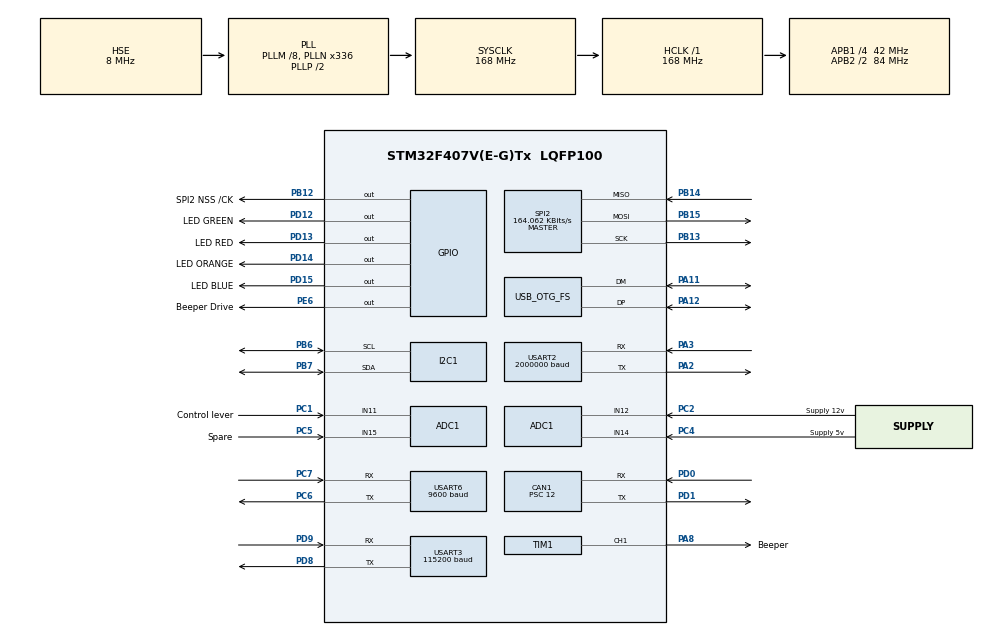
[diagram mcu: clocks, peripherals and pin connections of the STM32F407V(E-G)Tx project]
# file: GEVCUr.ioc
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ADC1.Channel-0\#ChannelRegularConversion=ADC_CHANNEL_11
ADC1.Channel-1\#ChannelRegularConversion=ADC_CHANNEL_12
ADC1.Channel-10\#ChannelRegularConversion=ADC_CHANNEL_TEMPSENSOR
ADC1.Channel-11\#ChannelRegularConversion=ADC_CHANNEL_VREFINT
ADC1.Channel-2\#ChannelRegularConversion=ADC_CHANNEL_14
ADC1.Channel-3\#ChannelRegularConversion=ADC_CHANNEL_15
ADC1.ContinuousConvMode=ENABLE
ADC1.DMAContinuousRequests=ENABLE
ADC1.NbrOfConversion=6
ADC1.NbrOfConversionFlag=1
ADC1.Rank-0\#ChannelRegularConversion=1
ADC1.Rank-1\#ChannelRegularConversion=2
ADC1.Rank-10\#ChannelRegularConversion=5
ADC1.Rank-11\#ChannelRegularConversion=6
ADC1.Rank-2\#ChannelRegularConversion=3
ADC1.Rank-3\#ChannelRegularConversion=4
ADC1.SamplingTime-0\#ChannelRegularConversion=ADC_SAMPLETIME_84CYCLES
ADC1.SamplingTime-1\#ChannelRegularConversion=ADC_SAMPLETIME_84CYCLES
ADC1.SamplingTime-10\#ChannelRegularConversion=ADC_SAMPLETIME_480CYCLES
ADC1.SamplingTime-11\#ChannelRegularConversion=ADC_SAMPLETIME_480CYCLES
ADC1.SamplingTime-2\#ChannelRegularConversion=ADC_SAMPLETIME_84CYCLES
ADC1.SamplingTime-3\#ChannelRegularConversion=ADC_SAMPLETIME_84CYCLES
ADC1.ScanConvMode=ENABLE
ADC1.master=1
CAN1.BS1=CAN_BS1_5TQ
CAN1.CalculateBaudRate=500000
CAN1.CalculateTimeBit=2000
CAN1.CalculateTimeQuantum=285.7142857142857
CAN1.Prescaler=12
Dma.ADC1.4.Direction=DMA_PERIPH_TO_MEMORY
Dma.ADC1.4.FIFOMode=DMA_FIFOMODE_DISABLE
Dma.ADC1.4.Instance=DMA2_Stream0
Dma.ADC1.4.MemDataAlignment=DMA_MDATAALIGN_HALFWORD
Dma.ADC1.4.MemInc=DMA_MINC_ENABLE
Dma.ADC1.4.Mode=DMA_CIRCULAR
Dma.ADC1.4.PeriphDataAlignment=DMA_PDATAALIGN_HALFWORD
Dma.ADC1.4.PeriphInc=DMA_PINC_DISABLE
Dma.ADC1.4.Priority=DMA_PRIORITY_LOW
Dma.I2C1_RX.8.Direction=DMA_PERIPH_TO_MEMORY
Dma.I2C1_RX.8.FIFOMode=DMA_FIFOMODE_DISABLE
Dma.I2C1_RX.8.Instance=DMA1_Stream0
Dma.I2C1_RX.8.MemDataAlignment=DMA_MDATAALIGN_BYTE
Dma.I2C1_RX.8.MemInc=DMA_MINC_ENABLE
Dma.I2C1_RX.8.Mode=DMA_NORMAL
Dma.I2C1_RX.8.PeriphDataAlignment=DMA_PDATAALIGN_BYTE
Dma.I2C1_RX.8.PeriphInc=DMA_PINC_DISABLE
Dma.I2C1_RX.8.Priority=DMA_PRIORITY_LOW
Dma.I2C1_TX.7.Direction=DMA_MEMORY_TO_PERIPH
Dma.I2C1_TX.7.FIFOMode=DMA_FIFOMODE_DISABLE
Dma.I2C1_TX.7.Instance=DMA1_Stream7
Dma.I2C1_TX.7.MemDataAlignment=DMA_MDATAALIGN_BYTE
Dma.I2C1_TX.7.MemInc=DMA_MINC_ENABLE
Dma.I2C1_TX.7.Mode=DMA_NORMAL
Dma.I2C1_TX.7.PeriphDataAlignment=DMA_PDATAALIGN_BYTE
Dma.I2C1_TX.7.PeriphInc=DMA_PINC_DISABLE
Dma.I2C1_TX.7.Priority=DMA_PRIORITY_LOW
Dma.Request0=USART2_RX
Dma.Request1=USART2_TX
Dma.Request2=USART6_RX
Dma.Request3=USART6_TX
Dma.Request4=ADC1
Dma.Request5=USART3_RX
Dma.Request6=USART3_TX
Dma.Request7=I2C1_TX
Dma.Request8=I2C1_RX
Dma.USART2_RX.0.Direction=DMA_PERIPH_TO_MEMORY
Dma.USART2_RX.0.FIFOMode=DMA_FIFOMODE_DISABLE
Dma.USART2_RX.0.Instance=DMA1_Stream5
Dma.USART2_RX.0.MemDataAlignment=DMA_MDATAALIGN_BYTE
Dma.USART2_RX.0.MemInc=DMA_MINC_ENABLE
Dma.USART2_RX.0.Mode=DMA_CIRCULAR
Dma.USART2_RX.0.PeriphDataAlignment=DMA_PDATAALIGN_BYTE
Dma.USART2_RX.0.PeriphInc=DMA_PINC_DISABLE
Dma.USART2_RX.0.Priority=DMA_PRIORITY_LOW
Dma.USART2_TX.1.Direction=DMA_MEMORY_TO_PERIPH
Dma.USART2_TX.1.FIFOMode=DMA_FIFOMODE_DISABLE
Dma.USART2_TX.1.Instance=DMA1_Stream6
Dma.USART2_TX.1.MemDataAlignment=DMA_MDATAALIGN_BYTE
Dma.USART2_TX.1.MemInc=DMA_MINC_ENABLE
Dma.USART2_TX.1.Mode=DMA_NORMAL
Dma.USART2_TX.1.PeriphDataAlignment=DMA_PDATAALIGN_BYTE
Dma.USART2_TX.1.PeriphInc=DMA_PINC_DISABLE
Dma.USART2_TX.1.Priority=DMA_PRIORITY_LOW
Dma.USART3_RX.5.Direction=DMA_PERIPH_TO_MEMORY
Dma.USART3_RX.5.FIFOMode=DMA_FIFOMODE_DISABLE
Dma.USART3_RX.5.Instance=DMA1_Stream1
Dma.USART3_RX.5.MemDataAlignment=DMA_MDATAALIGN_BYTE
Dma.USART3_RX.5.MemInc=DMA_MINC_ENABLE
Dma.USART3_RX.5.Mode=DMA_NORMAL
Dma.USART3_RX.5.PeriphDataAlignment=DMA_PDATAALIGN_BYTE
Dma.USART3_RX.5.PeriphInc=DMA_PINC_DISABLE
Dma.USART3_RX.5.Priority=DMA_PRIORITY_LOW
Dma.USART3_TX.6.Direction=DMA_MEMORY_TO_PERIPH
Dma.USART3_TX.6.FIFOMode=DMA_FIFOMODE_DISABLE
Dma.USART3_TX.6.Instance=DMA1_Stream3
Dma.USART3_TX.6.MemDataAlignment=DMA_MDATAALIGN_BYTE
Dma.USART3_TX.6.MemInc=DMA_MINC_ENABLE
Dma.USART3_TX.6.Mode=DMA_NORMAL
Dma.USART3_TX.6.PeriphDataAlignment=DMA_PDATAALIGN_BYTE
Dma.USART3_TX.6.PeriphInc=DMA_PINC_DISABLE
Dma.USART3_TX.6.Priority=DMA_PRIORITY_LOW
Dma.USART6_RX.2.Direction=DMA_PERIPH_TO_MEMORY
Dma.USART6_RX.2.FIFOMode=DMA_FIFOMODE_DISABLE
Dma.USART6_RX.2.Instance=DMA2_Stream1
Dma.USART6_RX.2.MemDataAlignment=DMA_MDATAALIGN_BYTE
Dma.USART6_RX.2.MemInc=DMA_MINC_ENABLE
Dma.USART6_RX.2.Mode=DMA_CIRCULAR
Dma.USART6_RX.2.PeriphDataAlignment=DMA_PDATAALIGN_BYTE
Dma.USART6_RX.2.PeriphInc=DMA_PINC_DISABLE
Dma.USART6_RX.2.Priority=DMA_PRIORITY_LOW
Dma.USART6_TX.3.Direction=DMA_MEMORY_TO_PERIPH
Dma.USART6_TX.3.FIFOMode=DMA_FIFOMODE_DISABLE
Dma.USART6_TX.3.Instance=DMA2_Stream6
Dma.USART6_TX.3.MemDataAlignment=DMA_MDATAALIGN_BYTE
Dma.USART6_TX.3.MemInc=DMA_MINC_ENABLE
Dma.USART6_TX.3.Mode=DMA_NORMAL
Dma.USART6_TX.3.PeriphDataAlignment=DMA_PDATAALIGN_BYTE
Dma.USART6_TX.3.PeriphInc=DMA_PINC_DISABLE
Dma.USART6_TX.3.Priority=DMA_PRIORITY_LOW
FREERTOS.INCLUDE_uxTaskGetStackHighWaterMark=1
FREERTOS.INCLUDE_vTaskDelayUntil=1
FREERTOS.INCLUDE_vTaskDelete=0
FREERTOS.INCLUDE_xTaskGetCurrentTaskHandle=1
FREERTOS.MEMORY_ALLOCATION=2
FREERTOS.Tasks01=defaultTask,0,448,StartDefaultTask,Default,NULL,Dynamic,NULL,NULL
FREERTOS.Timers01=defaultTaskTimer,CallbackdefaultTaskTimer,osTimerPeriodic,Default,NULL,Dynamic,NULL
FREERTOS.configCHECK_FOR_STACK_OVERFLOW=2
FREERTOS.configMINIMAL_STACK_SIZE=64
FREERTOS.configQUEUE_REGISTRY_SIZE=12
FREERTOS.configTICK_RATE_HZ=512
FREERTOS.configTOTAL_HEAP_SIZE=32768
FREERTOS.configUSE_TIMERS=1
Mcu.Family=STM32F4
Mcu.Name=STM32F407V(E-G)Tx
Mcu.Package=LQFP100
NVIC.ADC_IRQn=true\:6\:0\:true\:false\:true\:true\:true\:true\:true
NVIC.CAN1_RX0_IRQn=true\:7\:0\:true\:false\:true\:true\:true\:true\:true
NVIC.CAN1_RX1_IRQn=true\:7\:0\:true\:false\:true\:true\:true\:true\:true
NVIC.CAN1_TX_IRQn=true\:5\:0\:false\:false\:true\:true\:true\:true\:true
NVIC.DMA1_Stream0_IRQn=true\:8\:0\:true\:false\:true\:true\:false\:true\:true
NVIC.DMA1_Stream1_IRQn=true\:10\:0\:true\:false\:true\:true\:false\:true\:true
NVIC.DMA1_Stream3_IRQn=true\:10\:0\:true\:false\:true\:true\:false\:true\:true
NVIC.DMA1_Stream5_IRQn=true\:6\:0\:true\:false\:true\:true\:false\:true\:true
NVIC.DMA1_Stream6_IRQn=true\:6\:0\:true\:false\:true\:true\:false\:true\:true
NVIC.DMA1_Stream7_IRQn=true\:12\:0\:true\:false\:true\:true\:false\:true\:true
NVIC.DMA2_Stream0_IRQn=true\:6\:0\:true\:false\:true\:true\:false\:true\:true
NVIC.DMA2_Stream1_IRQn=true\:11\:0\:true\:false\:true\:true\:false\:true\:true
NVIC.DMA2_Stream6_IRQn=true\:11\:0\:true\:false\:true\:true\:false\:true\:true
NVIC.I2C1_EV_IRQn=true\:5\:0\:false\:false\:true\:true\:true\:true\:true
NVIC.OTG_FS_IRQn=true\:5\:0\:false\:false\:true\:true\:false\:true\:true
NVIC.PriorityGroup=NVIC_PRIORITYGROUP_4
NVIC.SPI2_IRQn=true\:13\:0\:true\:false\:true\:true\:true\:true\:true
NVIC.TIM5_IRQn=true\:0\:0\:false\:false\:true\:false\:false\:true\:true
NVIC.TimeBase=TIM5_IRQn
NVIC.TimeBaseIP=TIM5
NVIC.USART2_IRQn=true\:6\:0\:true\:false\:true\:true\:true\:true\:true
NVIC.USART3_IRQn=true\:8\:0\:true\:false\:true\:true\:true\:true\:true
NVIC.USART6_IRQn=true\:9\:0\:true\:false\:true\:true\:true\:true\:true
PA11.Mode=Device_Only
PA11.Signal=USB_OTG_FS_DM
PA12.Mode=Device_Only
PA12.Signal=USB_OTG_FS_DP
PA2.Mode=Asynchronous
PA2.Signal=USART2_TX
PA3.Mode=Asynchronous
PA3.Signal=USART2_RX
PA8.GPIO_Label=Beeper
PA8.Signal=S_TIM1_CH1
PB12.GPIO_Label=SPI2 NSS /CK
PB12.GPIO_PuPd=GPIO_PULLUP
PB12.GPIO_Speed=GPIO_SPEED_FREQ_MEDIUM
PB12.Signal=GPIO_Output
PB13.Mode=Full_Duplex_Master
PB13.Signal=SPI2_SCK
PB14.Mode=Full_Duplex_Master
PB14.Signal=SPI2_MISO
PB15.Mode=Full_Duplex_Master
PB15.Signal=SPI2_MOSI
PB6.GPIO_Pu=GPIO_PULLUP
PB6.Mode=I2C
PB6.Signal=I2C1_SCL
PB7.GPIO_Pu=GPIO_PULLUP
PB7.Mode=I2C
PB7.Signal=I2C1_SDA
PC1.GPIO_Label=Control lever
PC1.Signal=ADCx_IN11
PC2.GPIO_Label=Supply 12v
PC2.Signal=ADCx_IN12
PC4.GPIO_Label=Supply 5v
PC4.Signal=ADCx_IN14
PC5.GPIO_Label=Spare
PC5.Signal=ADCx_IN15
PC6.Mode=Asynchronous
PC6.Signal=USART6_TX
PC7.Mode=Asynchronous
PC7.Signal=USART6_RX
PD0.Mode=CAN_Activate
PD0.Signal=CAN1_RX
PD1.Mode=CAN_Activate
PD1.Signal=CAN1_TX
PD12.GPIO_Label=LED GREEN
PD12.Signal=GPIO_Output
PD13.GPIO_Label=LED RED
PD13.Signal=GPIO_Output
PD14.GPIO_Label=LED ORANGE
PD14.Signal=GPIO_Output
PD15.GPIO_Label=LED BLUE
PD15.Signal=GPIO_Output
PD8.Mode=Asynchronous
PD8.Signal=USART3_TX
PD9.Mode=Asynchronous
PD9.Signal=USART3_RX
PE6.GPIO_Label=Beeper Drive
PE6.GPIO_ModeDefaultOutputPP=GPIO_MODE_OUTPUT_PP
PE6.GPIO_PuPd=GPIO_NOPULL
PE6.GPIO_Speed=GPIO_SPEED_FREQ_LOW
PE6.PinState=GPIO_PIN_RESET
PE6.Signal=GPIO_Output
PH0-OSC_IN.Mode=HSE-External-Oscillator
PH0-OSC_IN.Signal=RCC_OSC_IN
PH1-OSC_OUT.Mode=HSE-External-Oscillator
PH1-OSC_OUT.Signal=RCC_OSC_OUT
ProjectManager.HeapSize=0x200
ProjectManager.StackSize=0x400
ProjectManager.TargetToolchain=Makefile
RCC.48MHZClocksFreq_Value=48000000
RCC.AHBFreq_Value=168000000
RCC.APB1CLKDivider=RCC_HCLK_DIV4
RCC.APB1Freq_Value=42000000
RCC.APB1TimFreq_Value=84000000
RCC.APB2CLKDivider=RCC_HCLK_DIV2
RCC.APB2Freq_Value=84000000
RCC.APB2TimFreq_Value=168000000
RCC.CortexFreq_Value=168000000
RCC.HCLKFreq_Value=168000000
RCC.HSE_VALUE=8000000
RCC.HSI_VALUE=16000000
RCC.LSE_VALUE=32768
RCC.PLLM=8
RCC.PLLN=336
RCC.PLLQ=7
RCC.SYSCLKFreq_VALUE=168000000
RCC.SYSCLKSource=RCC_SYSCLKSOURCE_PLLCLK
RCC.VCOOutputFreq_Value=336000000
SH.ADCx_IN11.0=ADC1_IN11,IN11
SH.ADCx_IN12.0=ADC1_IN12,IN12
SH.ADCx_IN14.0=ADC1_IN14,IN14
SH.ADCx_IN15.0=ADC1_IN15,IN15
SH.S_TIM1_CH1.0=TIM1_CH1,PWM Generation1 CH1
SPI2.BaudRatePrescaler=SPI_BAUDRATEPRESCALER_256
SPI2.CLKPhase=SPI_PHASE_1EDGE
SPI2.CLKPolarity=SPI_POLARITY_LOW
SPI2.CalculateBaudRate=164.062 KBits/s
SPI2.Direction=SPI_DIRECTION_2LINES
SPI2.Mode=SPI_MODE_MASTER
SPI2.VirtualType=VM_MASTER
TIM1.AutoReloadPreload=TIM_AUTORELOAD_PRELOAD_DISABLE
TIM1.Channel-PWM\ Generation1\ CH1=TIM_CHANNEL_1
TIM1.Period=35000
TIM1.Pulse-PWM\ Generation1\ CH1=3500
TIM1.TIM_MasterOutputTrigger=TIM_TRGO_OC1REF
USART2.BaudRate=2000000
USART2.VirtualMode=VM_ASYNC
USART3.BaudRate=115200
USART3.VirtualMode=VM_ASYNC
USART6.BaudRate=9600
USART6.VirtualMode=VM_ASYNC
USB_DEVICE.CLASS_NAME_FS=CDC
USB_DEVICE.VirtualMode-CDC_FS=Cdc
USB_DEVICE.VirtualModeFS=Cdc_FS
USB_OTG_FS.VirtualMode=Device_Only
VP_ADC1_TempSens_Input.Mode=IN-TempSens
VP_ADC1_Vref_Input.Mode=IN-Vrefint
VP_FREERTOS_VS_CMSIS_V1.Mode=CMSIS_V1
VP_SYS_VS_tim5.Mode=TIM5
VP_TIM1_VS_ClockSourceINT.Mode=Internal
VP_USB_DEVICE_VS_USB_DEVICE_CDC_FS.Mode=CDC_FS
board=custom

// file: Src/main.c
/* USER CODE BEGIN Header */
/**
  ******************************************************************************
  * @file           : main.c
  * @brief          : Main program body
  ******************************************************************************
  * This notice applies to any and all portions of this file
  * that are not between comment pairs USER CODE BEGIN and
  * USER CODE END. Other portions of this file, whether
  * inserted by the user or by software development tools
  * are owned by their respective copyright owners.
  *
  * Copyright (c) 2019 STMicroelectronics International N.V.
  * All rights reserved.
  *
  * Redistribution and use in source and binary forms, with or without
  * modification, are permitted, provided that the following conditions are met:
  *
  * 1. Redistribution of source code must retain the above copyright notice,
  *    this list of conditions and the following disclaimer.
  * 2. Redistributions in binary form must reproduce the above copyright notice,
  *    this list of conditions and the following disclaimer in the documentation
  *    and/or other materials provided with the distribution.
  * 3. Neither the name of STMicroelectronics nor the names of other
  *    contributors to this software may be used to endorse or promote products
  *    derived from this software without specific written permission.
  * 4. This software, including modifications and/or derivative works of this
  *    software, must execute solely and exclusively on microcontroller or
  *    microprocessor devices manufactured by or for STMicroelectronics.
  * 5. Redistribution and use of this software other than as permitted under
  *    this license is void and will automatically terminate your rights under
  *    this license.
  *
  * THIS SOFTWARE IS PROVIDED BY STMICROELECTRONICS AND CONTRIBUTORS "AS IS"
  * AND ANY EXPRESS, IMPLIED OR STATUTORY WARRANTIES, INCLUDING, BUT NOT
  * LIMITED TO, THE IMPLIED WARRANTIES OF MERCHANTABILITY, FITNESS FOR A
  * PARTICULAR PURPOSE AND NON-INFRINGEMENT OF THIRD PARTY INTELLECTUAL PROPERTY
  * RIGHTS ARE DISCLAIMED TO THE FULLEST EXTENT PERMITTED BY LAW. IN NO EVENT
  * SHALL STMICROELECTRONICS OR CONTRIBUTORS BE LIABLE FOR ANY DIRECT, INDIRECT,
  * INCIDENTAL, SPECIAL, EXEMPLARY, OR CONSEQUENTIAL DAMAGES (INCLUDING, BUT NOT
  * LIMITED TO, PROCUREMENT OF SUBSTITUTE GOODS OR SERVICES; LOSS OF USE, DATA,
  * OR PROFITS; OR BUSINESS INTERRUPTION) HOWEVER CAUSED AND ON ANY THEORY OF
  * LIABILITY, WHETHER IN CONTRACT, STRICT LIABILITY, OR TORT (INCLUDING
  * NEGLIGENCE OR OTHERWISE) ARISING IN ANY WAY OUT OF THE USE OF THIS SOFTWARE,
  * EVEN IF ADVISED OF THE POSSIBILITY OF SUCH DAMAGE.
  *
  ******************************************************************************
  */
/*
02/24/26 morse_trap modified to not hang when trap code is 91
*/
/* USER CODE END Header */
#include "main.h"
#include "cmsis_os.h"
#include "usb_device.h"

/* USER CODE BEGIN Includes */
#include <string.h>
#include "SerialTaskSend.h"
#include "stm32f4xx_hal_pcd.h"
//#include "usbd_cdc_if.h"
#include "cdc_txbuff.h"
#include "CanTask.h"
#include "can_iface.h"
#include "canfilter_setup.h"
#include "stm32f4xx_hal_can.h"
#include "getserialbuf.h"
#include "stackwatermark.h"
#include "yprintf.h"
#include "gateway_comm.h"
#include "gateway_CANtoPC.h"
#include "DTW_counter.h"
#include "SerialTaskReceive.h"
#include "yscanf.h"
#include "adctask.h"
#include "ADCTask.h"
#include "adcparams.h"
#include "adcparamsinit.h"
#include "gateway_PCtoCAN.h"
#include "morse.h"
#include "MailboxTask.h"
#include "GatewayTask.h"
#include "iir_f2.h"
#include "spiserialparallelSW.h"
#include "cdc_txbuff.h"
#include "SpiOutTask.h"
#include "BeepTask.h"
#include "lcdprintf.h"
#include "LEDTask.h"
#include "led_chasing.h"
#include "calib_control_lever.h"
#include "lcdmsg.h"
#include "dmoc_control.h"
#include "LcdTask.h"
#include "lcd_hd44780_i2c.h"
#include "LcdmsgsTask.h"
#include "LcdmsgsetTask.h"
#include "CID004Task.h"

/* USER CODE END Includes */

/* USER CODE BEGIN PTD */

void* verr[8];
uint32_t verrx = 0;
__attribute__( ( always_inline ) ) __STATIC_INLINE uint32_t __get_SP(void)
{
  register uint32_t result;

  __ASM volatile ("MOV %0, SP\n" : "=r" (result) );
  return(result);
}

uint32_t timectr = 0;
struct CAN_CTLBLOCK* pctl0;	// Pointer to CAN1 control block
struct CAN_CTLBLOCK* pctl1;	// Pointer to CAN2 control block

uint32_t debugTX1b;
uint32_t debugTX1b_prev;

uint32_t debugTX1c;
uint32_t debugTX1c_prev;

uint32_t debug03;
uint32_t debug03_prev;

extern osThreadId SerialTaskHandle;
extern osThreadId CanTxTaskHandle;
extern osThreadId CanRxTaskHandle;
extern osThreadId SerialTaskReceiveHandle;
extern osThreadId GatewayTaskHandle;

uint16_t m_trap = 450; // Trap codes for MX Init() and Error Handler

uint8_t canflag;
uint8_t canflag1;
uint8_t canflag2;

uint8_t lcdflag = 0;

/* USER CODE END PTD */

ADC_HandleTypeDef hadc1;
DMA_HandleTypeDef hdma_adc1;

CAN_HandleTypeDef hcan1;

I2C_HandleTypeDef hi2c1;
DMA_HandleTypeDef hdma_i2c1_tx;
DMA_HandleTypeDef hdma_i2c1_rx;

SPI_HandleTypeDef hspi2;

TIM_HandleTypeDef htim1;

UART_HandleTypeDef huart2;
UART_HandleTypeDef huart3;
UART_HandleTypeDef huart6;
DMA_HandleTypeDef hdma_usart2_rx;
DMA_HandleTypeDef hdma_usart2_tx;
DMA_HandleTypeDef hdma_usart3_rx;
DMA_HandleTypeDef hdma_usart3_tx;
DMA_HandleTypeDef hdma_usart6_rx;
DMA_HandleTypeDef hdma_usart6_tx;

osThreadId defaultTaskHandle;
osTimerId defaultTaskTimerHandle;

void SystemClock_Config(void);
static void MX_GPIO_Init(void);
static void MX_DMA_Init(void);
static void MX_USART6_UART_Init(void);
static void MX_USART2_UART_Init(void);
static void MX_CAN1_Init(void);
static void MX_ADC1_Init(void);
static void MX_SPI2_Init(void);
static void MX_USART3_UART_Init(void);
static void MX_TIM1_Init(void);
static void MX_I2C1_Init(void);
void StartDefaultTask(void const * argument);
void CallbackdefaultTaskTimer(void const * argument);

/* USER CODE BEGIN PFP */

/* Detect the processor ID. GevcurStates uses this. */
#define Unique_device_ID_register 0x1fff7a10 // DEH rig ID
uint32_t deh_rigid[3] = {0x00260027, 0x3131470e, 0x31343533};
uint32_t this_rig_id[3];
uint8_t deh_rig; // 3 = deh's f4 rig; != 3 means not deh's f4;

/* USER CODE END PFP */

int main(void)
{

  /* USER CODE BEGIN 1 */
	BaseType_t ret;	   // Used for returns from function calls
	osMessageQId Qidret; // Function call return
	osThreadId Thrdret;  // Return from thread create

// Debug: Clear heap area
//uint32_t* pclr = (uint32_t*)(0x2000bb80);
//while (pclr < (uint32_t*)(0x2000bb80 + 32768)) *pclr++ = 0x66666666;

  /* USER CODE END 1 */

  /* MCU Configuration--------------------------------------------------------*/

  /* Reset of all peripherals, Initializes the Flash interface and the Systick. */
  HAL_Init();

  /* USER CODE BEGIN Init */
	DTW_counter_init();

  uint32_t* prigid =(uint32_t*)Unique_device_ID_register;
  uint32_t* pdehrig = &deh_rigid[0];
  for (int i = 0; i < 3; i++)
  {
    if (*pdehrig == *prigid)
      deh_rig += 1;
  }

  /* USER CODE END Init */

  /* Configure the system clock */
  SystemClock_Config();

  /* USER CODE BEGIN SysInit */
	/* Add bcb circular buffer to SerialTaskSend for uart6 -- LCD */
	#define NUMCIRBCB6  16 // Size of circular buffer of BCB for uart6
	ret = xSerialTaskSendAdd(&HUARTLCD, NUMCIRBCB6, 1); // dma
	if (ret < 0) morse_trap(1); // Panic LED flashing

	/* Add bcb circular buffer to SerialTaskSend for usart2 -- gateway */
	#define NUMCIRBCB2  16 // Size of circular buffer of BCB for usart2
	ret = xSerialTaskSendAdd(&huart2, NUMCIRBCB2, 1); // dma
	if (ret < 0) morse_trap(2); // Panic LED flashing

	/* Add bcb circular buffer to SerialTaskSend for usart3 -- PC monitor */
	#define NUMCIRBCB3  16 // Size of circular buffer of BCB for usart3
	ret = xSerialTaskSendAdd(&HUARTMON, NUMCIRBCB3, 1); // dma
	if (ret < 0) morse_trap(14); // Panic LED flashing

	/* Setup TX linked list for CAN  */
   // CAN1 (CAN_HandleTypeDef *phcan, uint8_t canidx, uint16_t numtx, uint16_t numrx);
	pctl0 = can_iface_init(&hcan1, 0, 32, 64);
	if (pctl0 == NULL) morse_trap(7); // Panic LED flashing
	if (pctl0->ret < 0) morse_trap(77);

	// CAN 2
#ifdef CONFIGCAN2
	pctl1 = can_iface_init(&hcan2, 1,32, 64);
	if (pctl1 == NULL) morse_trap(8); // Panic LED flashing
	if (pctl1->ret < 0) morse_trap(88);
#endif

  /* USER CODE END SysInit */

  /* Initialize all configured peripherals */
  MX_GPIO_Init();
  MX_DMA_Init();
  MX_USART6_UART_Init();
  MX_USART2_UART_Init();
  MX_CAN1_Init();
  MX_ADC1_Init();
  MX_SPI2_Init();
  MX_USART3_UART_Init();
  MX_TIM1_Init();
  MX_I2C1_Init();
  /* USER CODE BEGIN 2 */

/*
DiscoveryF4 LEDs --
 GPIOD, GPIO_PIN_12 GREEN
 GPIOD, GPIO_PIN_13 ORANGE
 GPIOD, GPIO_PIN_14 RED
 GPIOD, GPIO_PIN_15 BLUE
*/
  /* USER CODE END 2 */

  /* Create the timer(s) */
  /* definition and creation of defaultTaskTimer */
  osTimerDef(defaultTaskTimer, CallbackdefaultTaskTimer);
  defaultTaskTimerHandle = osTimerCreate(osTimer(defaultTaskTimer), osTimerPeriodic, NULL);

  /* USER CODE BEGIN RTOS_TIMERS */
  /* start timers, add new ones, ... */

	/* defaultTask timer for pacing defaultTask output. */
//	ret = xTimerChangePeriod( defaultTaskTimerHandle  ,pdMS_TO_TICKS(64),0);

  /* USER CODE END RTOS_TIMERS */

  /* Create the thread(s) */
  /* definition and creation of defaultTask */
  osThreadDef(defaultTask, StartDefaultTask, osPriorityNormal, 0, 448);
  defaultTaskHandle = osThreadCreate(osThread(defaultTask), NULL);

  /* USER CODE BEGIN RTOS_THREADS */
  /* add threads, ... */
/* =================================================== */
  /* init code for USB_DEVICE */

//taskENTER_CRITICAL();
//  MX_USB_DEVICE_Init();
//taskEXIT_CRITICAL();

	/* Create serial task (priority) */
	// Task handle "osThreadId SerialTaskHandle" is global
	Thrdret = xSerialTaskSendCreate(osPriorityNormal+0);	// Create task and set Task priority
	if (Thrdret == NULL) morse_trap(225);

	/* Create serial receiving task. */
	ret = xSerialTaskReceiveCreate(osPriorityNormal+0);
	if (ret != pdPASS) morse_trap(224);

	/* Setup semaphore for yprint and sprintf et al. */
	yprintf_init();

	/* USB-CDC buffering */
	#define NUMCDCBUFF 4	// Number of CDC task local buffers
	#define CDCBUFFSIZE 64*4	// Best buff size is multiples of usb packet size
	struct CDCBUFFPTR* pret;
	pret = cdc_txbuff_init(NUMCDCBUFF, CDCBUFFSIZE); // Setup local buffers
	if (pret == NULL) morse_trap(223);

	/* USB-CDC queue and task creation */
	Qidret = xCdcTxTaskSendCreate(osPriorityNormal+0); // arg = Priority level
	if (Qidret < 0) morse_trap(221); // Panic LED flashing

  /* definition and creation of CanTxTask - CAN driver TX interface. */
  Qidret = xCanTxTaskCreate(osPriorityNormal+2, 64); // CanTask priority, Number of msgs in queue
	if (Qidret < 0) morse_trap(220); // Panic LED flashing

  /* definition and creation of CanRxTask - CAN driver RX interface. */
  /* The MailboxTask takes care of the CANRx                         */
//  Qidret = xCanRxTaskCreate(1, 32); // CanTask priority, Number of msgs in queue
//	if (Qidret < 0) morse_trap(6); // Panic LED flashing

	/* Setup CAN hardware filters to default to accept all ids. */
	HAL_StatusTypeDef Cret;
	Cret = canfilter_setup_first(0, &hcan1, 15); // CAN1
	if (Cret == HAL_ERROR) morse_trap(219);

#ifdef CONFIGCAN2
	Cret = canfilter_setup_first(1, &hcan2, 15); // CAN2
	if (Cret == HAL_ERROR) morse_trap(217);
#endif

	/* Remove "accept all" CAN msgs and add specific id & mask, or id here. */
	// See canfilter_setup.h

	/* Create MailboxTask */
	xMailboxTaskCreate(osPriorityNormal+2); // (arg) = priority

	/* Create GatewayTask */
	xGatewayTaskCreate(osPriorityNormal+1); // (arg) = priority

	/* GEVCUr state machine. */
	Thrdret = xGevcuTaskCreate(osPriorityNormal+2); // (arg) = priority
	if (Thrdret == NULL) morse_trap(216);

	/* Create Mailbox control block w 'take' pointer for each CAN module. */
	struct MAILBOXCANNUM* pmbxret;
	// (CAN1 control block pointer, size of circular buffer)
	pmbxret = MailboxTask_add_CANlist(pctl0, 48);
	if (pmbxret == NULL) morse_trap(215);

#ifdef CONFIGCAN2
	// (CAN2 control block pointer, size of circular buffer)
	pmbxret = MailboxTask_add_CANlist(pctl1, 48); // Use default buff size
	if (pmbxret == NULL) morse_trap(214);
#endif

	/* Further initialization of mailboxes takes place when tasks start */

	/* Select interrupts for CAN1 */
	HAL_CAN_ActivateNotification(&hcan1, \
		CAN_IT_TX_MAILBOX_EMPTY     |  \
		CAN_IT_RX_FIFO0_MSG_PENDING |  \
		CAN_IT_RX_FIFO1_MSG_PENDING    );

	/* Select interrupts for CAN2 */
#ifdef CONFIGCAN2
	HAL_CAN_ActivateNotification(&hcan2, \
		CAN_IT_TX_MAILBOX_EMPTY     |  \
		CAN_IT_RX_FIFO0_MSG_PENDING |  \
		CAN_IT_RX_FIFO1_MSG_PENDING    );
#endif

	/* Switch logic from queue loaded by Spi interrupts. */
//	Thrdret = xSwitchTaskCreate(1);
//	if (Thrdret == NULL) morse_trap(20); // Panic LED flashing

	/* Spi shift register task. */
	Thrdret = xSpiOutTaskCreate(osPriorityNormal+1);
	if (Thrdret == NULL) morse_trap(213); // Panic LED flashing

	/* Beeper task (taskpriority, beepqsize) */
	Thrdret = xBeepTaskCreate(osPriorityNormal+0, 32);
	if (Thrdret == NULL) morse_trap(212); // Panic LED flashing

	/* LED task (taskpriority, max queued items) .*/
	Thrdret = xLEDTaskCreate(osPriorityNormal+0, 32);
	if (Thrdret == NULL) morse_trap(211); // Panic LED flashing

	/* ADC summing, calibration, etc. */
	xADCTaskCreate(osPriorityNormal+1); // (arg) = priority

	/* Start SPI for switch/led shift register. */
	if (spiserialparallel_init(&hspi2) != HAL_OK) morse_trap(49);

	/* Queue for running LCD out of defaultTask. */
	Qidret = lcdmsg_init(16);
	if (Qidret < 0) morse_trap(210); // Panic LED flashing

  /* LCD I2C: message handling. (taskpriority, number buffers). */
  osThreadId retThrd =  xLcdTaskCreate(osPriorityNormal+0,32);
  if (retThrd == NULL) morse_trap(123);

  /* LCD I2C: message generation (calls to 'printf or'puts).
  'printf and overrun stalls take place in this task.
  (task priority, number in queue of pointer|union) */
  retThrd= xLcdmsgsetTaskCreate(osPriorityNormal+0,32);
  if (retThrd == NULL) morse_trap(125);

  /* CAN ID004 sending task. */
  retThrd = xCID004TaskCreate(osPriorityNormal+0);
  if (retThrd == NULL) morse_trap(131);

  /* Set switches before tasks begin running. */
  calib_control_lever_init();
  GevcuTask_init_switches();

  /* init code for USB_DEVICE */
#ifdef USEUSBFORCANMSGS
  taskENTER_CRITICAL();
    MX_USB_DEVICE_Init();
  taskEXIT_CRITICAL();
#endif

/* =================================================== */

  /* USER CODE END RTOS_THREADS */

  /* Start scheduler */
  osKernelStart();

  /* We should never get here as control is now taken by the scheduler */

  /* Infinite loop */
  while (1)
  {

  }
}

void SystemClock_Config(void)
{
  RCC_OscInitTypeDef RCC_OscInitStruct = {0};
  RCC_ClkInitTypeDef RCC_ClkInitStruct = {0};

  /** Configure the main internal regulator output voltage
  */
  __HAL_RCC_PWR_CLK_ENABLE();
  __HAL_PWR_VOLTAGESCALING_CONFIG(PWR_REGULATOR_VOLTAGE_SCALE1);

  /** Initializes the RCC Oscillators according to the specified parameters
  * in the RCC_OscInitTypeDef structure.
  */
  RCC_OscInitStruct.OscillatorType = RCC_OSCILLATORTYPE_HSE;
  RCC_OscInitStruct.HSEState = RCC_HSE_ON;
  RCC_OscInitStruct.PLL.PLLState = RCC_PLL_ON;
  RCC_OscInitStruct.PLL.PLLSource = RCC_PLLSOURCE_HSE;
  RCC_OscInitStruct.PLL.PLLM = 8;
  RCC_OscInitStruct.PLL.PLLN = 336;
  RCC_OscInitStruct.PLL.PLLP = RCC_PLLP_DIV2;
  RCC_OscInitStruct.PLL.PLLQ = 7;
  if (HAL_RCC_OscConfig(&RCC_OscInitStruct) != HAL_OK)
  {
    Error_Handler();
  }

  /** Initializes the CPU, AHB and APB buses clocks
  */
  RCC_ClkInitStruct.ClockType = RCC_CLOCKTYPE_HCLK|RCC_CLOCKTYPE_SYSCLK
                              |RCC_CLOCKTYPE_PCLK1|RCC_CLOCKTYPE_PCLK2;
  RCC_ClkInitStruct.SYSCLKSource = RCC_SYSCLKSOURCE_PLLCLK;
  RCC_ClkInitStruct.AHBCLKDivider = RCC_SYSCLK_DIV1;
  RCC_ClkInitStruct.APB1CLKDivider = RCC_HCLK_DIV4;
  RCC_ClkInitStruct.APB2CLKDivider = RCC_HCLK_DIV2;

  if (HAL_RCC_ClockConfig(&RCC_ClkInitStruct, FLASH_LATENCY_5) != HAL_OK)
  {
    Error_Handler();
  }
}

static void MX_ADC1_Init(void)
{

  /* USER CODE BEGIN ADC1_Init 0 */
	m_trap = 457; // morse_trap(457);
  /* USER CODE END ADC1_Init 0 */

  ADC_ChannelConfTypeDef sConfig = {0};

  /** Configure the global features of the ADC (Clock, Resolution, Data Alignment and number of conversion)
  */
  hadc1.Instance = ADC1;
  hadc1.Init.ClockPrescaler = ADC_CLOCK_SYNC_PCLK_DIV4;
  hadc1.Init.Resolution = ADC_RESOLUTION_12B;
  hadc1.Init.ScanConvMode = ENABLE;
  hadc1.Init.ContinuousConvMode = ENABLE;
  hadc1.Init.DiscontinuousConvMode = DISABLE;
  hadc1.Init.ExternalTrigConvEdge = ADC_EXTERNALTRIGCONVEDGE_NONE;
  hadc1.Init.ExternalTrigConv = ADC_SOFTWARE_START;
  hadc1.Init.DataAlign = ADC_DATAALIGN_RIGHT;
  hadc1.Init.NbrOfConversion = 6;
  hadc1.Init.DMAContinuousRequests = ENABLE;
  hadc1.Init.EOCSelection = ADC_EOC_SINGLE_CONV;
  if (HAL_ADC_Init(&hadc1) != HAL_OK)
  {
    Error_Handler();
  }

  /** Configure for the selected ADC regular channel its corresponding rank in the sequencer and its sample time.
  */
  sConfig.Channel = ADC_CHANNEL_11;
  sConfig.Rank = 1;
  sConfig.SamplingTime = ADC_SAMPLETIME_84CYCLES;
  if (HAL_ADC_ConfigChannel(&hadc1, &sConfig) != HAL_OK)
  {
    Error_Handler();
  }

  /** Configure for the selected ADC regular channel its corresponding rank in the sequencer and its sample time.
  */
  sConfig.Channel = ADC_CHANNEL_12;
  sConfig.Rank = 2;
  if (HAL_ADC_ConfigChannel(&hadc1, &sConfig) != HAL_OK)
  {
    Error_Handler();
  }

  /** Configure for the selected ADC regular channel its corresponding rank in the sequencer and its sample time.
  */
  sConfig.Channel = ADC_CHANNEL_14;
  sConfig.Rank = 3;
  if (HAL_ADC_ConfigChannel(&hadc1, &sConfig) != HAL_OK)
  {
    Error_Handler();
  }

  /** Configure for the selected ADC regular channel its corresponding rank in the sequencer and its sample time.
  */
  sConfig.Channel = ADC_CHANNEL_15;
  sConfig.Rank = 4;
  if (HAL_ADC_ConfigChannel(&hadc1, &sConfig) != HAL_OK)
  {
    Error_Handler();
  }

  /** Configure for the selected ADC regular channel its corresponding rank in the sequencer and its sample time.
  */
  sConfig.Channel = ADC_CHANNEL_TEMPSENSOR;
  sConfig.Rank = 5;
  sConfig.SamplingTime = ADC_SAMPLETIME_480CYCLES;
  if (HAL_ADC_ConfigChannel(&hadc1, &sConfig) != HAL_OK)
  {
    Error_Handler();
  }

  /** Configure for the selected ADC regular channel its corresponding rank in the sequencer and its sample time.
  */
  sConfig.Channel = ADC_CHANNEL_VREFINT;
  sConfig.Rank = 6;
  if (HAL_ADC_ConfigChannel(&hadc1, &sConfig) != HAL_OK)
  {
    Error_Handler();
  }

}

static void MX_CAN1_Init(void)
{

  /* USER CODE BEGIN CAN1_Init 0 */
	m_trap = 456; // morse_trap(456);
  /* USER CODE END CAN1_Init 0 */

  hcan1.Instance = CAN1;
  hcan1.Init.Prescaler = 12;
  hcan1.Init.Mode = CAN_MODE_NORMAL;
  hcan1.Init.SyncJumpWidth = CAN_SJW_1TQ;
  hcan1.Init.TimeSeg1 = CAN_BS1_5TQ;
  hcan1.Init.TimeSeg2 = CAN_BS2_1TQ;
  hcan1.Init.TimeTriggeredMode = DISABLE;
  hcan1.Init.AutoBusOff = DISABLE;
  hcan1.Init.AutoWakeUp = DISABLE;
  hcan1.Init.AutoRetransmission = DISABLE;
  hcan1.Init.ReceiveFifoLocked = DISABLE;
  hcan1.Init.TransmitFifoPriority = DISABLE;
  if (HAL_CAN_Init(&hcan1) != HAL_OK)
  {
    Error_Handler();
  }

}

static void MX_I2C1_Init(void)
{

  /* USER CODE BEGIN I2C1_Init 0 */
	m_trap = 455; // morse_trap(455);
  /* USER CODE END I2C1_Init 0 */

  hi2c1.Instance = I2C1;
  hi2c1.Init.ClockSpeed = 100000;
  hi2c1.Init.DutyCycle = I2C_DUTYCYCLE_2;
  hi2c1.Init.OwnAddress1 = 0;
  hi2c1.Init.AddressingMode = I2C_ADDRESSINGMODE_7BIT;
  hi2c1.Init.DualAddressMode = I2C_DUALADDRESS_DISABLE;
  hi2c1.Init.OwnAddress2 = 0;
  hi2c1.Init.GeneralCallMode = I2C_GENERALCALL_DISABLE;
  hi2c1.Init.NoStretchMode = I2C_NOSTRETCH_DISABLE;
  if (HAL_I2C_Init(&hi2c1) != HAL_OK)
  {
    Error_Handler();
  }

}

static void MX_SPI2_Init(void)
{

  /* USER CODE BEGIN SPI2_Init 0 */
	m_trap = 454; // morse_trap(454);
  /* USER CODE END SPI2_Init 0 */

  /* SPI2 parameter configuration*/
  hspi2.Instance = SPI2;
  hspi2.Init.Mode = SPI_MODE_MASTER;
  hspi2.Init.Direction = SPI_DIRECTION_2LINES;
  hspi2.Init.DataSize = SPI_DATASIZE_8BIT;
  hspi2.Init.CLKPolarity = SPI_POLARITY_LOW;
  hspi2.Init.CLKPhase = SPI_PHASE_1EDGE;
  hspi2.Init.NSS = SPI_NSS_SOFT;
  hspi2.Init.BaudRatePrescaler = SPI_BAUDRATEPRESCALER_256;
  hspi2.Init.FirstBit = SPI_FIRSTBIT_MSB;
  hspi2.Init.TIMode = SPI_TIMODE_DISABLE;
  hspi2.Init.CRCCalculation = SPI_CRCCALCULATION_DISABLE;
  hspi2.Init.CRCPolynomial = 10;
  if (HAL_SPI_Init(&hspi2) != HAL_OK)
  {
    Error_Handler();
  }

}

static void MX_TIM1_Init(void)
{

  /* USER CODE BEGIN TIM1_Init 0 */
	m_trap = 453; // morse_trap(453);
  /* USER CODE END TIM1_Init 0 */

  TIM_ClockConfigTypeDef sClockSourceConfig = {0};
  TIM_MasterConfigTypeDef sMasterConfig = {0};
  TIM_OC_InitTypeDef sConfigOC = {0};
  TIM_BreakDeadTimeConfigTypeDef sBreakDeadTimeConfig = {0};

  htim1.Instance = TIM1;
  htim1.Init.Prescaler = 0;
  htim1.Init.CounterMode = TIM_COUNTERMODE_UP;
  htim1.Init.Period = 35000;
  htim1.Init.ClockDivision = TIM_CLOCKDIVISION_DIV1;
  htim1.Init.RepetitionCounter = 0;
  htim1.Init.AutoReloadPreload = TIM_AUTORELOAD_PRELOAD_DISABLE;
  if (HAL_TIM_Base_Init(&htim1) != HAL_OK)
  {
    Error_Handler();
  }
  sClockSourceConfig.ClockSource = TIM_CLOCKSOURCE_INTERNAL;
  if (HAL_TIM_ConfigClockSource(&htim1, &sClockSourceConfig) != HAL_OK)
  {
    Error_Handler();
  }
  if (HAL_TIM_PWM_Init(&htim1) != HAL_OK)
  {
    Error_Handler();
  }
  sMasterConfig.MasterOutputTrigger = TIM_TRGO_OC1REF;
  sMasterConfig.MasterSlaveMode = TIM_MASTERSLAVEMODE_DISABLE;
  if (HAL_TIMEx_MasterConfigSynchronization(&htim1, &sMasterConfig) != HAL_OK)
  {
    Error_Handler();
  }
  sConfigOC.OCMode = TIM_OCMODE_PWM1;
  sConfigOC.Pulse = 35000;
  sConfigOC.OCPolarity = TIM_OCPOLARITY_HIGH;
  sConfigOC.OCNPolarity = TIM_OCNPOLARITY_HIGH;
  sConfigOC.OCFastMode = TIM_OCFAST_DISABLE;
  sConfigOC.OCIdleState = TIM_OCIDLESTATE_RESET;
  sConfigOC.OCNIdleState = TIM_OCNIDLESTATE_RESET;
  if (HAL_TIM_PWM_ConfigChannel(&htim1, &sConfigOC, TIM_CHANNEL_1) != HAL_OK)
  {
    Error_Handler();
  }
  sBreakDeadTimeConfig.OffStateRunMode = TIM_OSSR_DISABLE;
  sBreakDeadTimeConfig.OffStateIDLEMode = TIM_OSSI_DISABLE;
  sBreakDeadTimeConfig.LockLevel = TIM_LOCKLEVEL_OFF;
  sBreakDeadTimeConfig.DeadTime = 0;
  sBreakDeadTimeConfig.BreakState = TIM_BREAK_DISABLE;
  sBreakDeadTimeConfig.BreakPolarity = TIM_BREAKPOLARITY_HIGH;
  sBreakDeadTimeConfig.AutomaticOutput = TIM_AUTOMATICOUTPUT_DISABLE;
  if (HAL_TIMEx_ConfigBreakDeadTime(&htim1, &sBreakDeadTimeConfig) != HAL_OK)
  {
    Error_Handler();
  }
  HAL_TIM_MspPostInit(&htim1);

}

static void MX_USART2_UART_Init(void)
{

  /* USER CODE BEGIN USART2_Init 0 */
	m_trap = 452; // morse_trap(452);
  /* USER CODE END USART2_Init 0 */

  huart2.Instance = USART2;
  huart2.Init.BaudRate = 2000000;
  huart2.Init.WordLength = UART_WORDLENGTH_8B;
  huart2.Init.StopBits = UART_STOPBITS_1;
  huart2.Init.Parity = UART_PARITY_NONE;
  huart2.Init.Mode = UART_MODE_TX_RX;
  huart2.Init.HwFlowCtl = UART_HWCONTROL_NONE;
  huart2.Init.OverSampling = UART_OVERSAMPLING_16;
  if (HAL_UART_Init(&huart2) != HAL_OK)
  {
    Error_Handler();
  }

}

static void MX_USART3_UART_Init(void)
{

  /* USER CODE BEGIN USART3_Init 0 */
	m_trap = 451; // morse_trap(451);
  /* USER CODE END USART3_Init 0 */

  huart3.Instance = USART3;
  huart3.Init.BaudRate = 115200;
  huart3.Init.WordLength = UART_WORDLENGTH_8B;
  huart3.Init.StopBits = UART_STOPBITS_1;
  huart3.Init.Parity = UART_PARITY_NONE;
  huart3.Init.Mode = UART_MODE_TX_RX;
  huart3.Init.HwFlowCtl = UART_HWCONTROL_NONE;
  huart3.Init.OverSampling = UART_OVERSAMPLING_16;
  if (HAL_UART_Init(&huart3) != HAL_OK)
  {
    Error_Handler();
  }

}

static void MX_USART6_UART_Init(void)
{

  /* USER CODE BEGIN USART6_Init 0 */
	m_trap = 458; // morse_trap(458);
  /* USER CODE END USART6_Init 0 */

  huart6.Instance = USART6;
  huart6.Init.BaudRate = 9600;
  huart6.Init.WordLength = UART_WORDLENGTH_8B;
  huart6.Init.StopBits = UART_STOPBITS_1;
  huart6.Init.Parity = UART_PARITY_NONE;
  huart6.Init.Mode = UART_MODE_TX_RX;
  huart6.Init.HwFlowCtl = UART_HWCONTROL_NONE;
  huart6.Init.OverSampling = UART_OVERSAMPLING_16;
  if (HAL_UART_Init(&huart6) != HAL_OK)
  {
    Error_Handler();
  }

}

static void MX_DMA_Init(void)
{

  /* DMA controller clock enable */
  __HAL_RCC_DMA1_CLK_ENABLE();
  __HAL_RCC_DMA2_CLK_ENABLE();

  /* DMA interrupt init */
  /* DMA1_Stream0_IRQn interrupt configuration */
  HAL_NVIC_SetPriority(DMA1_Stream0_IRQn, 8, 0);
  HAL_NVIC_EnableIRQ(DMA1_Stream0_IRQn);
  /* DMA1_Stream1_IRQn interrupt configuration */
  HAL_NVIC_SetPriority(DMA1_Stream1_IRQn, 10, 0);
  HAL_NVIC_EnableIRQ(DMA1_Stream1_IRQn);
  /* DMA1_Stream3_IRQn interrupt configuration */
  HAL_NVIC_SetPriority(DMA1_Stream3_IRQn, 10, 0);
  HAL_NVIC_EnableIRQ(DMA1_Stream3_IRQn);
  /* DMA1_Stream5_IRQn interrupt configuration */
  HAL_NVIC_SetPriority(DMA1_Stream5_IRQn, 6, 0);
  HAL_NVIC_EnableIRQ(DMA1_Stream5_IRQn);
  /* DMA1_Stream6_IRQn interrupt configuration */
  HAL_NVIC_SetPriority(DMA1_Stream6_IRQn, 6, 0);
  HAL_NVIC_EnableIRQ(DMA1_Stream6_IRQn);
  /* DMA1_Stream7_IRQn interrupt configuration */
  HAL_NVIC_SetPriority(DMA1_Stream7_IRQn, 12, 0);
  HAL_NVIC_EnableIRQ(DMA1_Stream7_IRQn);
  /* DMA2_Stream0_IRQn interrupt configuration */
  HAL_NVIC_SetPriority(DMA2_Stream0_IRQn, 6, 0);
  HAL_NVIC_EnableIRQ(DMA2_Stream0_IRQn);
  /* DMA2_Stream1_IRQn interrupt configuration */
  HAL_NVIC_SetPriority(DMA2_Stream1_IRQn, 11, 0);
  HAL_NVIC_EnableIRQ(DMA2_Stream1_IRQn);
  /* DMA2_Stream6_IRQn interrupt configuration */
  HAL_NVIC_SetPriority(DMA2_Stream6_IRQn, 11, 0);
  HAL_NVIC_EnableIRQ(DMA2_Stream6_IRQn);

}

static void MX_GPIO_Init(void)
{
  GPIO_InitTypeDef GPIO_InitStruct = {0};

  /* GPIO Ports Clock Enable */
  __HAL_RCC_GPIOE_CLK_ENABLE();
  __HAL_RCC_GPIOH_CLK_ENABLE();
  __HAL_RCC_GPIOC_CLK_ENABLE();
  __HAL_RCC_GPIOA_CLK_ENABLE();
  __HAL_RCC_GPIOB_CLK_ENABLE();
  __HAL_RCC_GPIOD_CLK_ENABLE();

  /*Configure GPIO pin Output Level */
  HAL_GPIO_WritePin(Beeper_Drive_GPIO_Port, Beeper_Drive_Pin, GPIO_PIN_RESET);

  /*Configure GPIO pin Output Level */
  HAL_GPIO_WritePin(SPI2_NSS__CK_GPIO_Port, SPI2_NSS__CK_Pin, GPIO_PIN_RESET);

  /*Configure GPIO pin Output Level */
  HAL_GPIO_WritePin(GPIOD, LED_GREEN_Pin|LED_RED_Pin|LED_ORANGE_Pin|LED_BLUE_Pin, GPIO_PIN_RESET);

  /*Configure GPIO pin : Beeper_Drive_Pin */
  GPIO_InitStruct.Pin = Beeper_Drive_Pin;
  GPIO_InitStruct.Mode = GPIO_MODE_OUTPUT_PP;
  GPIO_InitStruct.Pull = GPIO_NOPULL;
  GPIO_InitStruct.Speed = GPIO_SPEED_FREQ_LOW;
  HAL_GPIO_Init(Beeper_Drive_GPIO_Port, &GPIO_InitStruct);

  /*Configure GPIO pin : SPI2_NSS__CK_Pin */
  GPIO_InitStruct.Pin = SPI2_NSS__CK_Pin;
  GPIO_InitStruct.Mode = GPIO_MODE_OUTPUT_PP;
  GPIO_InitStruct.Pull = GPIO_PULLUP;
  GPIO_InitStruct.Speed = GPIO_SPEED_FREQ_MEDIUM;
  HAL_GPIO_Init(SPI2_NSS__CK_GPIO_Port, &GPIO_InitStruct);

  /*Configure GPIO pins : LED_GREEN_Pin LED_RED_Pin LED_ORANGE_Pin LED_BLUE_Pin */
  GPIO_InitStruct.Pin = LED_GREEN_Pin|LED_RED_Pin|LED_ORANGE_Pin|LED_BLUE_Pin;
  GPIO_InitStruct.Mode = GPIO_MODE_OUTPUT_PP;
  GPIO_InitStruct.Pull = GPIO_NOPULL;
  GPIO_InitStruct.Speed = GPIO_SPEED_FREQ_LOW;
  HAL_GPIO_Init(GPIOD, &GPIO_InitStruct);

}

/* USER CODE BEGIN 4 */

static struct LCDMSGSET lcdi2cfunc1;
// LCD splash screen                                                        "12345678901234567890"
static void lcdi2cmsgm1    (union LCDSETVAR u){lcdi2cputs  (&punitd4x20,0,0,"GEVCUr   260224:1638");}
static void lcdi2cmsgm1deh (union LCDSETVAR u){lcdi2cputs  (&punitd4x20,0,0,"GEVCUrDeh260224:1638");}

/* USER CODE END 4 */

/* USER CODE BEGIN Header_StartDefaultTask */
/**
  * @brief  Function implementing the defaultTask thread.
  * @param  argument: Not used
  * @retval None
  */
// ################################################################################
// ######### DEFAULT TASK #########################################################
// ################################################################################
/* USER CODE END Header_StartDefaultTask */
void StartDefaultTask(void const * argument)
{
  /* init code for USB_DEVICE */
  MX_USB_DEVICE_Init();
  /* USER CODE BEGIN 5 */

osDelay(50); // Debugging HardFault

/* Select code for testing/monitoring by uncommenting #defines */
//#define DISPLAYSTACKUSAGEFORTASKS
//#define SHOWEXTENDEDSUMSOFADCRAWREADINGS
//#define SHOWSUMSOFADCRAWREADINGS
//#define SHOWINCREASINGAVERAGEOFADCRAWREADINGS
//#define SHOWSERIALPARALLELSTUFF
//#define STARTUPCHASINGLEDS
//#define TESTBEEPER
//#define SENDCANTESTMSGSINABURST
//#define SHOWADCCOMMONCOMPUTATIONS
//#define TESTLCDPRINTF
#define DMOCTESTS

	#define DEFAULTTSKBIT00	(1 << 0)  // Task notification bit for sw timer: stackusage
	#define DEFAULTTSKBIT01	(1 << 1)  // Task notification bit for sw timer: something else

	/* A notification copies the internal notification word to this. */
	uint32_t noteval = 0;    // Receives notification word upon an API notify

	/* notification bits processed after a 'Wait. */
	uint32_t noteused = 0;

	struct SERIALSENDTASKBCB* pbuf1 = getserialbuf(&HUARTMON,96);
	if (pbuf1 == NULL) morse_trap(11);

	struct SERIALSENDTASKBCB* pbuf3 = getserialbuf(&HUARTMON,96);
	if (pbuf3 == NULL) morse_trap(13);

	struct SERIALSENDTASKBCB* pbuf2 = getserialbuf(&HUARTMON,96);
	if (pbuf2 == NULL) morse_trap(12);

	struct SERIALSENDTASKBCB* pbuf4 = getserialbuf(&HUARTMON,96);
	if (pbuf4 == NULL) morse_trap(12);

#ifdef TESTLCDPRINTF
	struct SERIALSENDTASKBCB* pbuflcd = getserialbuf(&HUARTLCD,64);
	if (pbuflcd == NULL) morse_trap(12);

	uint32_t lcdrow = 0;
	uint32_t lcdctr = 0;
	uint32_t lcdret = 0;

#endif

#ifdef DISPLAYSTACKUSAGEFORTASKS
	int ctr = 0; // Running count
	uint32_t heapsize;
	uint32_t showctr = 0;
	uint32_t t1_DSUFT; // DTW time
	uint32_t t2_DSUFT = 0;
#endif

#ifdef SENDCANTESTMSGSINABURST
	/* Test CAN msg */
	struct CANTXQMSG testtx;
	testtx.pctl = pctl0;
	testtx.can.id = 0xc2200000;
	testtx.can.dlc = 8;
	int i;
	for (i = 0; i < 8; i++)
		testtx.can.cd.uc[i] = 0x30 + i;
	testtx.maxretryct = 8;
	testtx.bits = 0;
#endif

 /* LCD I2C msgs used in this task. */
  // Wait for LcdTask to instantiate 4x20 #1 unit. */
  uint8_t loopctr = 0;
  while ((punitd4x20 == NULL) && (loopctr++ < 10)) osDelay(10);
      if (punitd4x20 == NULL) morse_trap(2326);

  // Initial "splash:" msg on line 1 of lcdi2c 4x20 #1 display
  if (deh_rig == 3) // 3 = deh's f4 rig; != 3 means not deh's f4; )
    lcdi2cfunc1.ptr = lcdi2cmsgm1deh;
  else
    lcdi2cfunc1.ptr = lcdi2cmsgm1;

  if (LcdmsgsetTaskQHandle == NULL) morse_trap(2323);
    xQueueSendToBack(LcdmsgsetTaskQHandle, &lcdi2cfunc1, 0);

HAL_GPIO_TogglePin(GPIOD,GPIO_PIN_15); // BLUE LED

#ifdef SHOWSUMSOFADCRAWREADINGS
extern uint32_t adcsumdb[ADC1IDX_ADCSCANSIZE]; // debug
extern uint32_t adcdbctr;    // debug
uint32_t adcdbctr_prev = adcdbctr;
uint16_t hdrctr = 999;
#endif

#ifdef SHOWEXTENDEDSUMSOFADCRAWREADINGS
uint16_t idx_xsum_prev = 0;
uint16_t hdrctr2 = 999;
#endif

#ifdef SHOWINCREASINGAVERAGEOFADCRAWREADINGS
float  fxxsum[ADC1IDX_ADCSCANSIZE];
float ftmp;
uint64_t xxsum[ADC1IDX_ADCSCANSIZE];
uint32_t ravectr = 0;
float frecip;
uint16_t idx_xxsum_prev = 0;
uint16_t hdrctr3 = 999;
uint8_t ix;
for (ix = 0; ix < ADC1IDX_ADCSCANSIZE; ix++) xxsum[ix] = 0;
#endif

#ifdef  SHOWSERIALPARALLELSTUFF
uint32_t spispctr_prev = 0;
#endif

#ifdef STARTUPCHASINGLEDS
struct LEDREQ spiledx;
spiledx.bitnum = 0; // Start with bit 0
struct LEDREQ spiledx_prev;
spiledx_prev.bitnum = 15; // Sart with previous bit 15
uint8_t chasectr = 0; // Counter for slowing down output rate
#endif

// Assure CL state
clfunc.state = INITLCD;

#ifdef TESTBEEPER
struct BEEPQ beepqtest;
beepqtest.duron  = 100;
beepqtest.duroff = 50;
beepqtest.repct  = 2;
//	HAL_TIM_PWM_Start(&htim1, TIM_CHANNEL_1);
#endif

/* Purpose: flag to have other task wait before 'for' loop. */
lcdflag = 1;

/* Countdown timer for various display speeds. */
uint16_t slowtimectr = 0; // Approx 1/sec
uint16_t medtimectr = 0;  // Approx 8/sec

osDelay(50);
yprintf(&pbuf4,"\n\n\r##########..Start GEVCUr..#########");
if (deh_rig == 3)
  yprintf(&pbuf1,"\n\r... DEH f4 detected ......\n\r");
else
  yprintf(&pbuf1,"\n\r... Assume rig has contactor attached ......\n\r");

slowtimectr = 128;

osDelay(5);

	xTimerChangePeriod( defaultTaskTimerHandle,pdMS_TO_TICKS(63),0);
// ===== BEGIN FOR LOOP ==============================

	for ( ;; )
	{
		xTaskNotifyWait(noteused, 0, &noteval, portMAX_DELAY);
//    xTaskNotifyWait(0,0xffffffff, &noteval, portMAX_DELAY);
		noteused = 0;
		if ((noteval & DEFAULTTSKBIT00) != 0)
		{
			noteused |= DEFAULTTSKBIT00;
// ================= Higest rate =======================================
			/* Check each LED until CL calibration ends. */
			led_chasing();

			/* Update CL position on LCD after CL calibration ends. */
			lcdout();

			/* LCD output from queue pointers. */
			lcdmsg_poll();

#ifdef DMOCTESTS
	yprintf(&pbuf1,"\n\rSTATE:dmoc:act: %X new: %X : rep: %X :op: %X",dmocctl[0].dmocstateact,dmocctl[0].dmocstatenew,dmocctl[0].dmocstaterep,dmocctl[0].dmocopstate);
  yprintf(&pbuf2," speedact %6d",dmocctl[0].speedact);
#endif

// ================== SLOW ==============================================
/* Countdown timer notifications. */
			slowtimectr += 1;
			if (slowtimectr >= 64)
			{
				slowtimectr = 0;
#ifdef TESTLCDPRINTF
extern uint32_t lcddbg;
		lcdret = lcdprintf(&pbuflcd,lcdrow,0,"\n\r01234 %2d %3d %1d",lcdrow,lcdctr,lcddbg);
		lcdctr += 1;	lcdrow += 1; if (lcdrow >= 4) lcdrow = 0;
		lcdret = yprintf(&pbuf1,"\n\rlcdret: %d lcdctr: %d lcddbg: %d",lcdret, lcdctr,lcddbg);
#endif

#ifdef DISPLAYSTACKUSAGEFORTASKS
			/* Display the amount of unused stack space for tasks. */
    yprintf(&pbuf1,"\n\r");
t1_DSUFT = DTWTIME;
			showctr += 1;
/* 'for' is to test doing all scans at one timer tick. */
for (showctr = 0; showctr < 15; showctr++)
{
				switch (showctr)
				{
/* Cycle through the tasks. */
case  0: stackwatermark_show(defaultTaskHandle,&pbuf1,"defaultTask--");break;
case  1: stackwatermark_show(SerialTaskHandle ,&pbuf2,"SerialTask---");break;
case  2: stackwatermark_show(CanTxTaskHandle  ,&pbuf3,"CanTxTask----");break;
case  3: stackwatermark_show(MailboxTaskHandle,&pbuf4,"MailboxTask--");break;
case  4: stackwatermark_show(ADCTaskHandle    ,&pbuf1,"ADCTask------");break;
case  5: stackwatermark_show(SerialTaskReceiveHandle,&pbuf2,"SerialRcvTask");break;
case  6: stackwatermark_show(GatewayTaskHandle,&pbuf3,"GatewayTask--");break;
case  7: stackwatermark_show(CdcTxTaskSendHandle,&pbuf4,"CdcTxTask----");break;
case  8: stackwatermark_show(SpiOutTaskHandle, &pbuf1,"SpiOutTask---");break;
case  9: stackwatermark_show(GevcuTaskHandle,  &pbuf2,"GevcuTask----");break;
case 10: stackwatermark_show(BeepTaskHandle,   &pbuf3,"BeepTask-----");break;
case 11: stackwatermark_show(LEDTaskHandle,    &pbuf4,"LEDTask------");break;
case 12: stackwatermark_show(LcdmsgsetTaskHandle,&pbuf1,"LcdmsgsetTask");break;
case 13: stackwatermark_show(LcdTaskHandle,    &pbuf1,"LcdTask------");break;

case 14:	heapsize = xPortGetFreeHeapSize(); // Heap usage (and test fp working.
			yprintf(&pbuf1,"\n\rGetFreeHeapSize: total: %i free %i %3.1f%% used: %i",configTOTAL_HEAP_SIZE, heapsize,\
				100.0*(float)heapsize/configTOTAL_HEAP_SIZE,(configTOTAL_HEAP_SIZE-heapsize)); break;
default: showctr=0; yprintf(&pbuf1,"\n\r%4i Unused Task stack space--", ctr++); break;
				}
}
yprintf(&pbuf3,"\n\rTIC DUR: %d", DTWTIME - t2_DSUFT);
t2_DSUFT = DTWTIME;
yprintf(&pbuf2,"\n\rDTW DUR: %d",t2_DSUFT - t1_DSUFT);
#endif

#ifdef TESTBEEPER
			xQueueSendToBack(BeepTaskQHandle,&beepqtest,portMAX_DELAY);

#endif

#ifdef  SENDCANTESTMSGSINABURST
			/* ==== CAN MSG sending test ===== */
			/* Place test CAN msg to send on queue in a burst. */
			/* Note: an odd makes the LED flash since it toggles on each msg. */
uint16_t ib;
			for (ib = 0; ib < 7; ib++)
				xQueueSendToBack(CanTxQHandle,&testtx,portMAX_DELAY);
#endif

#ifdef DEBUGGINGCDCREADINGFROMPC
/* Debugging CDC reading from PC */
extern uint32_t dbuggateway1;
extern uint32_t dbcdcrx;
extern uint32_t dblen;
extern uint32_t cdcifctr;
extern uint32_t dbrxbuff;
yprintf(&pbuf2,"\n\rdbuggateway1: %d dbcdcrx: %d dblen: %d cdcifctr: %d dbrxbuff: %d", dbuggateway1,dbcdcrx,dblen,cdcifctr,dbrxbuff);
#endif
  			}
// ================= Moderate ===================================
/* Countdown timer notifications. */
			medtimectr += 1;
			if (medtimectr >= 4)
			{
				medtimectr = 0;

/* ##### timer not counted down ##### */
		HAL_GPIO_TogglePin(GPIOD,GPIO_PIN_15); // BLUE LED

#ifdef SHOWSERIALPARALLELSTUFF
			/* SPI serial-parallel hw testing. */
			yprintf(&pbuf3,"\n\rspi ctr: %4d wr: %04X rd: %04X",(spispctr - spispctr_prev),spisp_wr[0].u16,spisp_rd[0].u16);
			spispctr_prev = spispctr; // Running count of spi interrupts

//			yprintf(&pbuf2,"\tcurpos %5.1f %5d %5d",clfunc.curpos,adc1.chan[0].sum,adc1.abs[0].adcfil);

//extern struct SWITCHPTR swpair_safeactive;
extern struct SWITCHPTR* psw_cl_fs_no;
extern struct SWITCHPTR* psw_cl_rst_n0;
extern uint16_t sr1;
extern uint16_t srdiff1;
			yprintf(&pbuf4,"\tcurpos %5.1f %d %d %d %d %d %d  %d %d %04X %04X",clfunc.curpos,
					gevcufunction.psw[PSW_ZTENSION]->db_on,
					gevcufunction.psw[PSW_ZODOMTR]->db_on,
					gevcufunction.psw[PSW_PB_PREP]->db_on,
					gevcufunction.psw[PSW_PB_ARM]->db_on,
					psw_cl_fs_no->db_on,
					psw_cl_rst_n0->db_on,
					gevcufunction.psw[PSW_PR_SAFE]->db_on,
					gevcufunction.psw[PSW_PR_SAFE]->on,
					sr1, srdiff1);
#endif

//#define SHOWMAILBOXGEVCU07
#ifdef SHOWMAILBOXGEVCU07
extern struct MAILBOXCAN* pdbg07mbx;
yprintf(&pbuf3,"\n\rCONT %4d %08X %02X",pdbg07mbx->ctr,pdbg07mbx->ncan.can.id,pdbg07mbx->ncan.can.cd.uc[0]);
#endif

#ifdef STARTUPCHASINGLEDS
				if (flag_clcalibed == 0)
				{
					chasectr += 1;
					if (chasectr > 2)
					{
				chasectr = 0;
				/* Send a lit LED down the row, over and over. */
				spiledx.mode = LED_ON; // Turn current LED on
spiledx.who = 1;
				xQueueSendToBack(LEDTaskQHandle,&spiledx,portMAX_DELAY);

spiledx_prev.who = 2;
				spiledx_prev.mode = LED_OFF; // Turn previous LED off
				xQueueSendToBack(LEDTaskQHandle,&spiledx_prev,portMAX_DELAY);

				spiledx_prev = spiledx; // Update previous
				spiledx.bitnum += 1;    // Advance new
				if (spiledx.bitnum > 15) spiledx.bitnum = 0;
					}
				}
				// When Calibration complete turn off the lit LED
				if (flag_clcalibed == 1)
				{
			flag_clcalibed = 2;
spiledx_prev.who = 3;
			spiledx_prev.mode = LED_OFF; // Turn previous LED off
			xQueueSendToBack(LEDTaskQHandle,&spiledx_prev,portMAX_DELAY);
				}
#endif

#ifdef SHOWADCCOMMONCOMPUTATIONS
uint32_t dmact_prev = adcommon.dmact;
extern volatile uint32_t adcdbg2;
			yprintf(&pbuf4,"\n\rADC: Vdd: %7.4f %8.4f   Temp: %6.1f %6.1f %i",adcommon.fvdd,adcommon.fvddfilt,adcommon.degC,adcommon.degCfilt,(adcommon.dmact-dmact_prev));
			dmact_prev = adcommon.dmact;

//			yprintf(&pbuf4,"\n\rInternal ref:   %d %d %d\n\r",adc1.chan[ADC1IDX_INTERNALVREF].sum/ADC1DMANUMSEQ, adcommon.ivdd, adcdbg2);

			yprintf(&pbuf1,"\n\rCalibrated: vref: %6.4f",adc1.common.fvref);
#endif

#ifdef SHOWSUMSOFADCRAWREADINGS
				hdrctr += 1;
				if (hdrctr >= 16) // Periodic print header
				{
					hdrctr = 0;
yprintf(&pbuf1,"\n\r     count           CL     12V    5V    spare  temp   vref");
				}
yprintf(&pbuf2,"\n\rctr: %5d adcsum: %6d %6d %6d %6d %6d %6d",(adcdbctr-adcdbctr_prev),adcsumdb[0],adcsumdb[1],adcsumdb[2],adcsumdb[3],adcsumdb[4],adcsumdb[5]);
		adcdbctr_prev = adcdbctr;
#endif

#ifdef SHOWEXTENDEDSUMSOFADCRAWREADINGS
				if (adc1.idx_xsum != idx_xsum_prev)
				{
					hdrctr2 += 1;
					if (hdrctr2 >= 16) // Periodic print header
					{
						hdrctr2 = 0;
yprintf(&pbuf3,"\n\r     count           CL     12V    5V    spare  temp   vref");
				}
				idx_xsum_prev = adc1.idx_xsum;
				yprintf(&pbuf3,"\n\rctr: %5d  exsum: %6.0f %6.0f %6.0f %6.0f %6.0f %6.0f",hdrctr2,
					(float)adc1.chan[0].xsum[1]*(1.0/(float)ADCEXTENDSUMCT),
					(float)adc1.chan[1].xsum[1]*(1.0/(float)ADCEXTENDSUMCT),
					(float)adc1.chan[2].xsum[1]*(1.0/(float)ADCEXTENDSUMCT),
					(float)adc1.chan[3].xsum[1]*(1.0/(float)ADCEXTENDSUMCT),
					(float)adc1.chan[4].xsum[1]*(1.0/(float)ADCEXTENDSUMCT),
					(float)adc1.chan[5].xsum[1]*(1.0/(float)ADCEXTENDSUMCT)	);
				}
#endif

#ifdef SHOWINCREASINGAVERAGEOFADCRAWREADINGS
				if (adc1.idx_xsum != idx_xxsum_prev)
				{
					hdrctr3 += 1;
					if (hdrctr3 >= 16) // Periodic print header
					{
						hdrctr3 = 0;
yprintf(&pbuf3,"\n\r     count           CL     12V    5V    spare  temp   vref");
					}
					idx_xxsum_prev = adc1.idx_xsum;
					ravectr += 1;
					frecip =  (1.0/((float)ADCEXTENDSUMCT * (float)ravectr));

					for (ix = 0; ix < ADC1IDX_ADCSCANSIZE; ix++)
					{
						xxsum[ix] += adc1.chan[ix].xsum[1];
						ftmp = xxsum[ix];
						fxxsum[ix] = ftmp * frecip;
					}
yprintf(&pbuf4,"\n\rctr: %5d incave: %6.0f %6.0f %6.0f %6.0f %6.0f %6.0f",
		ravectr,fxxsum[0],fxxsum[1],fxxsum[2],fxxsum[3],fxxsum[4],fxxsum[5]);
				}
#endif
			}
	  	}
	}
  /* USER CODE END 5 */
}

/* CallbackdefaultTaskTimer function */
void CallbackdefaultTaskTimer(void const * argument)
{
  /* USER CODE BEGIN CallbackdefaultTaskTimer */
	BaseType_t xHigherPriorityTaskWoken = pdFALSE;
	if (defaultTaskHandle != NULL)
	{
		xTaskNotifyFromISR(defaultTaskHandle,
			DEFAULTTSKBIT00,	/* 'or' bit assigned to buffer to notification value. */
			eSetBits,      /* Set 'or' option */
			&xHigherPriorityTaskWoken );
	}

  /* USER CODE END CallbackdefaultTaskTimer */
}

void HAL_TIM_PeriodElapsedCallback(TIM_HandleTypeDef *htim)
{
  if (htim->Instance == TIM5) {
    HAL_IncTick();
  }
}

void Error_Handler(void)
{
  /* USER CODE BEGIN Error_Handler_Debug */
  /* User can add his own implementation to report the HAL error return state */
	morse_trap(m_trap); // Flash error code set in earlier MX Init()'s

  /* USER CODE END Error_Handler_Debug */
}

#ifdef  USE_FULL_ASSERT
/**
  * @brief  Reports the name of the source file and the source line number
  *         where the assert_param error has occurred.
  * @param  file: pointer to the source file name
  * @param  line: assert_param error line source number
  * @retval None
  */
void assert_failed(uint8_t *file, uint32_t line)
{
  /* USER CODE BEGIN 6 */
  /* User can add his own implementation to report the file name and line number,
     tex: printf("Wrong parameters value: file %s on line %d\r\n", file, line) */
morse_trap(222);
  /* USER CODE END 6 */
}
#endif /* USE_FULL_ASSERT */
